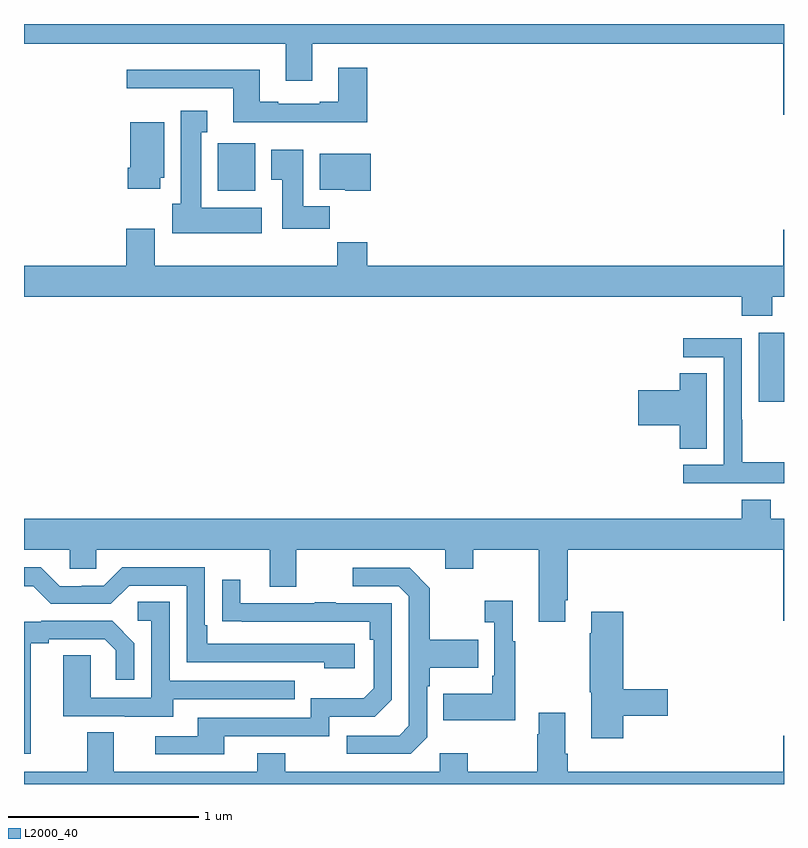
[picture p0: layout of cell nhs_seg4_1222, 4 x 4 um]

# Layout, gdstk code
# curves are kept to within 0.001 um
import gdstk
lib = gdstk.Library(unit=1e-6, precision=1e-09)
def R(c, l, rs):  # rectangles x0, y0, x1, y1
    for r in rs: c.add(gdstk.rectangle(r[:2], r[2:], *l))
def P(c, l, *ps):  # polygons
    for p in ps: c.add(gdstk.Polygon(p, *l))
L2000_40 = (2000, 40)

nhs_seg4_1222 = lib.new_cell('nhs_seg4_1222')
R(nhs_seg4_1222, L2000_40, [(176.867,818.913,177,819.274), (174.021,820.022,174.217,820.272)])
P(nhs_seg4_1222, L2000_40, [(173,820.796),(174.377,820.796),(174.377,820.602),(174.517,820.602),(174.517,820.796),(176.996,820.796),(176.996,820.422),(177,820.422),(177,820.9),(173,820.9)],
  [(174.806,820.669),(174.653,820.669),(174.653,820.492),(174.557,820.492),(174.557,820.479),(174.337,820.479),(174.337,820.492),(174.241,820.492),(174.241,820.66),(173.541,820.66),(173.541,820.563),(174.101,820.563),(174.101,820.382),(174.806,820.382)],
  [(174.25,819.934),(173.932,819.934),(173.932,820.331),(173.965,820.331),(173.965,820.444),(173.825,820.444),(173.825,819.954),(173.78,819.954),(173.78,819.8),(174.25,819.8)],
  [(173.716,820.092),(173.737,820.092),(173.737,820.384),(173.558,820.384),(173.558,820.144),(173.546,820.144),(173.546,820.032),(173.716,820.032)],
  [(174.608,819.94),(174.469,819.94),(174.469,820.237),(174.302,820.237),(174.302,820.081),(174.359,820.081),(174.359,819.822),(174.608,819.822)],
  [(174.826,820.216),(174.557,820.216),(174.557,820.028),(174.69,820.028),(174.69,820.022),(174.826,820.022)],
  [(176.937,819.464),(177,819.464),(177,819.817),(176.996,819.817),(176.996,819.628),(174.806,819.628),(174.806,819.752),(174.649,819.752),(174.649,819.628),(173.689,819.628),(173.689,819.823),(173.537,819.823),(173.537,819.628),(173,819.628),(173,819.464),(176.777,819.464),(176.777,819.365),(176.937,819.365)],
  [(177,818.593),(176.781,818.593),(176.781,818.816),(176.778,818.816),(176.778,819.246),(176.469,819.246),(176.469,819.147),(176.682,819.147),(176.682,818.58),(176.469,818.58),(176.469,818.484),(177,818.484)],
  [(176.593,819.062),(176.45,819.062),(176.45,818.972),(176.232,818.972),(176.232,818.789),(176.45,818.789),(176.45,818.665),(176.593,818.665)],
  [(175.849,817.867),(175.862,817.867),(175.862,818.132),(176.996,818.132),(176.996,817.758),(177,817.758),(177,818.296),(176.929,818.296),(176.929,818.395),(176.777,818.395),(176.777,818.296),(173,818.296),(173,818.132),(173.241,818.132),(173.241,818.034),(173.379,818.034),(173.379,818.132),(174.293,818.132),(174.293,817.938),(174.433,817.938),(174.433,818.132),(175.217,818.132),(175.217,818.033),(175.365,818.033),(175.365,818.132),(175.709,818.132),(175.709,817.755),(175.849,817.755)],
  [(174.742,817.638),(173.965,817.638),(173.965,817.735),(173.952,817.735),(173.952,818.04),(173.517,818.04),(173.421,817.944),(173.303,817.944),(173.303,817.941),(173.187,817.941),(173.087,818.041),(173,818.041),(173,817.941),(173.049,817.941),(173.142,817.848),(173.457,817.848),(173.553,817.944),(173.856,817.944),(173.856,817.542),(174.581,817.542),(174.581,817.508),(174.742,817.508)],
  [(175.122,817.146),(175.122,817.415),(175.135,817.415),(175.135,817.511),(175.391,817.511),(175.391,817.659),(175.135,817.659),(175.135,817.931),(175.029,818.037),(174.729,818.037),(174.729,817.941),(174.972,817.941),(175.026,817.887),(175.026,817.206),(174.975,817.155),(174.699,817.155),(174.699,817.059),(175.035,817.059)],
  [(174.055,817.152),(174.606,817.152),(174.606,817.254),(174.846,817.254),(174.936,817.344),(174.936,817.851),(174.641,817.851),(174.641,817.856),(174.529,817.856),(174.529,817.851),(174.139,817.851),(174.139,817.975),(174.043,817.975),(174.043,817.756),(174.82,817.755),(174.82,817.658),(174.84,817.658),(174.84,817.404),(174.787,817.351),(174.51,817.351),(174.51,817.248),(173.915,817.248),(173.915,817.152),(173.691,817.152),(173.691,817.056),(174.055,817.056)],
  [(175.585,817.651),(175.573,817.651),(175.573,817.864),(175.425,817.864),(175.425,817.751),(175.476,817.751),(175.476,817.471),(175.464,817.471),(175.464,817.375),(175.207,817.375),(175.207,817.235),(175.585,817.235)],
  [(173.785,817.347),(174.425,817.347),(174.425,817.443),(173.766,817.443),(173.766,817.859),(173.598,817.859),(173.598,817.758),(173.67,817.758),(173.67,817.353),(173.352,817.353),(173.352,817.577),(173.207,817.577),(173.207,817.257),(173.531,817.257),(173.531,817.253),(173.785,817.253)],
  [(176.153,817.258),(176.389,817.258),(176.389,817.4),(176.153,817.4),(176.153,817.807),(175.985,817.807),(175.985,817.694),(175.978,817.694),(175.978,817.383),(175.985,817.383),(175.985,817.14),(176.153,817.14)],
  [(173.035,817.64),(173.131,817.64),(173.131,817.662),(173.426,817.662),(173.483,817.605),(173.483,817.449),(173.58,817.449),(173.58,817.642),(173.464,817.758),(173.092,817.758),(173.092,817.755),(173,817.755),(173,817.059),(173.035,817.059)],
  [(177,817.153),(176.996,817.153),(176.996,816.964),(175.862,816.964),(175.862,817.06),(175.849,817.06),(175.849,817.276),(175.709,817.276),(175.709,817.163),(175.702,817.163),(175.702,816.964),(175.335,816.964),(175.335,817.063),(175.188,817.063),(175.188,816.964),(174.375,816.964),(174.375,817.063),(174.227,817.063),(174.227,816.964),(173.473,816.964),(173.473,817.172),(173.333,817.172),(173.333,816.964),(173,816.964),(173,816.9),(177,816.9)])

lib.write_gds('nhs_seg4_1222.gds')
